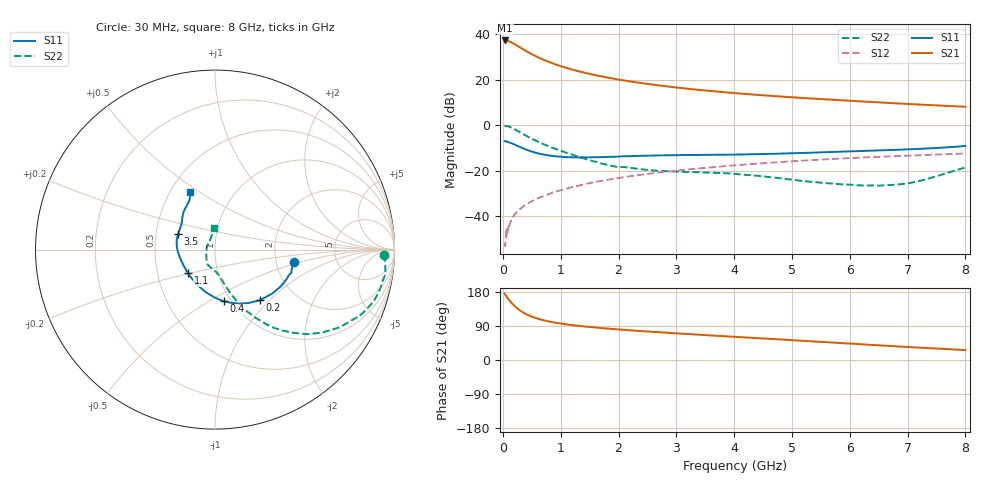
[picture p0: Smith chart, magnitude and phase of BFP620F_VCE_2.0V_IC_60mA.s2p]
! Infineon Technologies  Discrete & RF Semiconductors
! BFP620F
! VCE =  2.0 V,  IC =  60 mA
! Common Emitter S-Parameters:  Dec 2014
# GHz  S  MA  R  50
!  f  S11  S21  S12  S22
! GHz  MAG  ANG  MAG  ANG  MAG  ANG  MAG  ANG
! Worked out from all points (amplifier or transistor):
!   95 points, 30 MHz to 8 GHz, reference 50 ohm
!   highest |S21| = 37.2 dB at 40 MHz (marker M1)
!   |S21| within 3 dB of that: start of sweep to 292.9 MHz
!   unconditionally stable (mu >= 1): 1.769 GHz to end of sweep
!   at 300 MHz: K = 0.53, MSG = 35.5 dB, |S12| = -36.8 dB
!   at 3.3 GHz: K = 1.03, MAG = 16.4 dB, |S12| = -19.2 dB
!   at 8 GHz: K = 1.05, MAG = 8.9 dB, |S12| = -12.4 dB
!   S11 on the Smith chart (normalised r, x): 30 MHz: 2.52, -0.44; 200 MHz: 1.34, -0.88; 400 MHz: 0.93, -0.58; 1.1 GHz: 0.72, -0.19; 3.5 GHz: 0.65, +0.12; 8 GHz: 0.63, +0.46
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0.03  0.4454 -9.0  72.74 174.8  0.0025 98.6  0.9411 -1.7
0.04  0.4422 -11.9  72.8 172.6  0.0022 84.4  0.9499 -4.1
0.07  0.4354 -18.9  72.11 166.1  0.0037 83.8  0.9513 -10.2
0.11  0.4204 -29.0  69.18 157.8  0.0055 80.2  0.9301 -18.0
0.15  0.4006 -38.0  65.68 150.7  0.0086 80.5  0.8847 -24.7
0.2  0.3772 -48.4  60.56 142.8  0.0108 73.9  0.8198 -31.8
0.25  0.3523 -57.6  55.61 135.9  0.0128 75.3  0.7562 -37.7
0.3  0.3303 -65.7  50.9 130.2  0.0145 72.5  0.695 -42.7
0.4  0.2917 -80.3  42.75 121.1  0.0181 72.2  0.5883 -50.1
0.5  0.2631 -91.9  36.38 114.4  0.0214 70.7  0.506 -55.4
0.6  0.242 -102.5  31.44 109.2  0.0246 71.3  0.4384 -59.5
0.7  0.2265 -111.3  27.57 105.0  0.0277 71.2  0.3856 -62.7
0.9  0.2075 -126.5  21.94 98.7  0.0342 71.1  0.3055 -67.5
1.1  0.1984 -139.0  18.13 94.0  0.0405 71.1  0.2475 -71.2
1.4  0.1968 -153.6  14.36 88.7  0.0502 70.0  0.1868 -76.0
1.9  0.2025 -171.3  10.61 81.9  0.066 68.0  0.1263 -86.4
2.7  0.2168 170.4  7.487 73.3  0.0913 63.6  0.0997 -105.7
3.5  0.2231 157.2  5.796 65.7  0.1157 58.9  0.0915 -117.4
4.1  0.2276 148.8  4.967 60.3  0.134 55.0  0.0836 -123.4
5.4  0.2509 136.6  3.819 48.7  0.1727 46.3  0.0563 -149.9
6.7  0.285 125.1  3.075 37.0  0.2068 36.8  0.0485 150.0
8  0.3493 113.2  2.546 26.2  0.2386 27.7  0.1178 93.3
